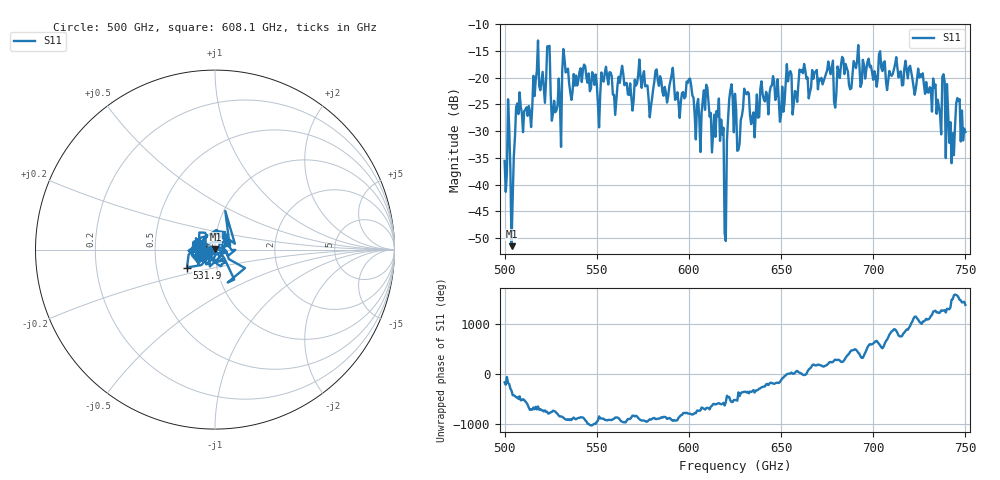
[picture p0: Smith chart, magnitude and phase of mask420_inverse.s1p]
!Created with skrf (http://scikit-rf.org).
# GHz S MA R 50.0
!freq magS11 angS11
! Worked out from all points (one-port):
!   401 points, 500 GHz to 750 GHz, reference 50 ohm
!   lowest |S11| = -51.5 dB at 503.8 GHz (marker M1), VSWR 1.01, Z = 50.2 + j0.133 ohm
!   |S11| at or under -10 dB: start of sweep to end of sweep
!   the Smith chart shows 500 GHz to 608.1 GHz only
!   S11 on the Smith chart (normalised r, x): 500 GHz: 0.97, -0.01; 531.9 GHz: 0.72, -0.15; 608.1 GHz: 1.14, +0.09
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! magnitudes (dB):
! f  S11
! 500 GHz  -35.6
! 501.9 GHz  -24.0
! 503.8 GHz  -51.5
! 507.5 GHz  -26.8
! 513.8 GHz  -26.4
! 516.9 GHz  -20.5
! 523.8 GHz  -14.1
! 526.9 GHz  -24.3
! 531.2 GHz  -18.8
! 531.9 GHz  -14.6
! 562.5 GHz  -21.0
! 593.8 GHz  -22.7
! 600 GHz  -20.3
! 605 GHz  -24.0
! 608.1 GHz  -22.4
! 617.5 GHz  -27.8
! 619.4 GHz  -49.1
! 620.6 GHz  -31.8
! 622.5 GHz  -22.4
! 625 GHz  -23.0
! 656.2 GHz  -26.9
! 687.5 GHz  -22.2
! 718.8 GHz  -20.1
! 735.6 GHz  -25.5
! 738.8 GHz  -20.8
! 742.5 GHz  -36.0
! 745.6 GHz  -23.8
! 750 GHz  -30.2
